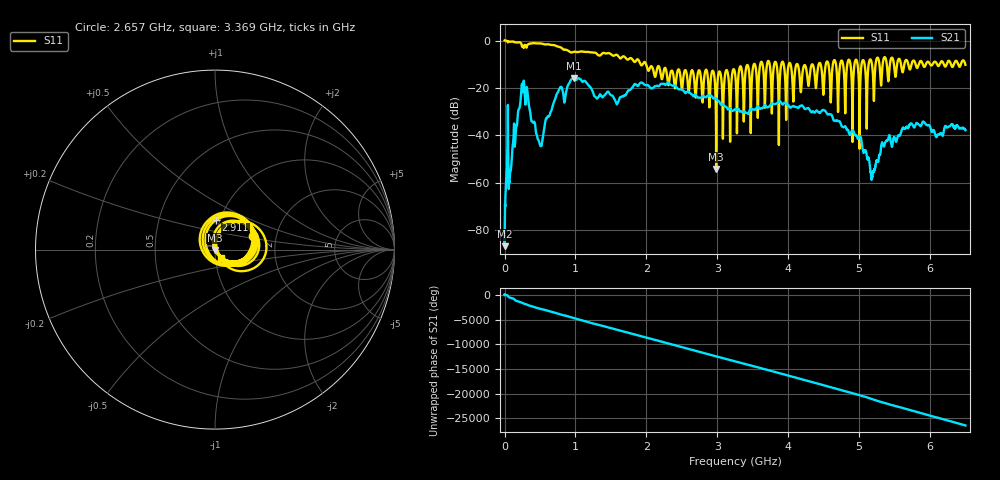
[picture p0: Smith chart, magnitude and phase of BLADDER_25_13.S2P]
!Keysight Technologies,E5063A,MY54503115,A.05.08
!Date: Sun Feb 04 18:36:36 2024
!Data & Calibration Information:
!Freq	S11:NONE(--)	S21:NONE(--)	S12:NONE(--)	S22:NONE(--)
# Hz S dB R 50
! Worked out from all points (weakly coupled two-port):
!   10001 points, 100 kHz to 6.5 GHz, reference 50 ohm
!   highest |S21| = -15.76 dB at 973.1 MHz (marker M1); lowest = -86.6 dB at 1.4 MHz (marker M2)
!   lowest |S11| = -54.1 dB at 2.984 GHz (marker M3), VSWR 1.00, Z = 49.9 - j0.132 ohm
!   |S11| at or under -10 dB: 1.995 GHz to 3.516 GHz (1.52 GHz wide, 55.2 % of centre); 4.132 GHz to 4.339 GHz (206.6 MHz wide, 4.88 % of centre); 4.34 GHz to 4.431 GHz (91.25 MHz wide, 2.08 % of centre) (the widest 3 of 31)
!   S12 and S22 are empty: the file has one direction only
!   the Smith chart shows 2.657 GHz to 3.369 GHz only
!   S11 on the Smith chart (normalised r, x): 2.657 GHz: 1.51, +0.24; 2.911 GHz: 0.96, +0.32; 3.369 GHz: 1.06, -0.10
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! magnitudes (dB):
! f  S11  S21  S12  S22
! 100 kHz  0.0  -80.3  -  -
! 1.4 MHz  0.0  -86.6  -  -
! 38.45 MHz  -0.2  -46.5  -  -
! 251.6 MHz  -2.3  -21.2  -  -
! 503.8 MHz  -1.2  -44.2  -  -
! 759.3 MHz  -2.6  -21.2  -  -
! 973.1 MHz  -4.7  -15.8  -  -
! 1.084 GHz  -4.6  -16.9  -  -
! 1.58 GHz  -6.0  -26.8  -  -
! 2.167 GHz  -10.8  -19.2  -  -
! 2.657 GHz  -13.1  -23.2  -  -
! 2.911 GHz  -15.7  -23.1  -  -
! 2.984 GHz  -54.1  -24.5  -  -
! 3.25 GHz  -13.7  -29.0  -  -
! 3.369 GHz  -25.1  -30.2  -  -
! 4.334 GHz  -10.1  -30.2  -  -
! 4.908 GHz  -42.7  -37.7  -  -
! 4.958 GHz  -8.0  -40.0  -  -
! 5.002 GHz  -22.0  -40.2  -  -
! 5.188 GHz  -11.4  -57.0  -  -
! 5.417 GHz  -16.4  -40.9  -  -
! 6.5 GHz  -10.2  -37.8  -  -
